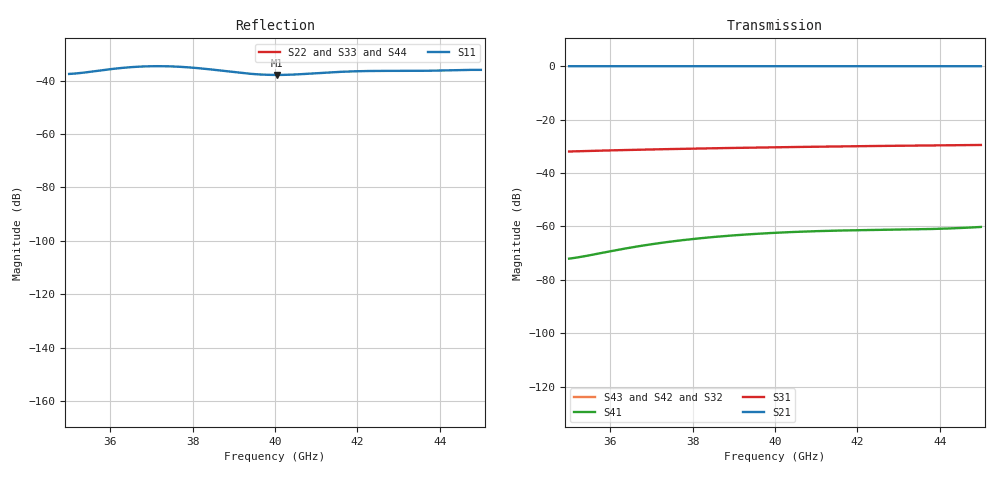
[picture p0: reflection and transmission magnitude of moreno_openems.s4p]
! Moreno cross-guide coupler, openEMS FDTD
! only column 1 (port 1 excited) and, by reciprocity, row 1 are simulated; other entries are zero
! S-parameters are normalised to each port's TE10 wave impedance (generalised
! S-matrix); 'R 50' below is only the placeholder the format requires.
! Reference planes: edges of the common a x a square.
# GHz S MA R 50
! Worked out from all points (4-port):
!   201 points, 35 GHz to 45 GHz, reference 50 ohm
!   strongest paths, dB at 35 GHz, 37.5 GHz, 40 GHz, 42.5 GHz, 45 GHz:
!     S21: 0.0, 0.0, 0.0, 0.0, 0.0
!     S31: -32.0, -31.0, -30.4, -29.9, -29.5
!     S41: -72.1, -65.6, -62.4, -61.3, -60.2
!     S43: -, -, -, -, -
!     S42: -, -, -, -, -
!     S32: -, -, -, -, -
!   lowest |S11| = -37.9 dB at 40.05 GHz (marker M1), VSWR 1.03, Z = 51.2 + j0.398 ohm
!   |S11| at or under -10 dB: start of sweep to end of sweep
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35  0.01337 -147.5  0.999 -159.9  0.02525 110.2  0.0002487 111.4
    0.999 -159.9  0 0.0  0 0.0  0 0.0
    0.02525 110.2  0 0.0  0 0.0  0 0.0
    0.0002487 111.4  0 0.0  0 0.0  0 0.0
36.4  0.01766 -95.5  1 -174.3  0.02695 95.7  0.0003896 111.9
      1 -174.3  0 0.0  0 0.0  0 0.0
      0.02695 95.7  0 0.0  0 0.0  0 0.0
      0.0003896 111.9  0 0.0  0 0.0  0 0.0
37.2  0.01869 -76.3  0.9999 177.7  0.0278 87.7  0.0004875 103.8
      0.9999 177.7  0 0.0  0 0.0  0 0.0
      0.0278 87.7  0 0.0  0 0.0  0 0.0
      0.0004875 103.8  0 0.0  0 0.0  0 0.0
38.6  0.01573 -39.9  0.9994 164.1  0.02911 74.1  0.0006419 85.8
      0.9994 164.1  0 0.0  0 0.0  0 0.0
      0.02911 74.1  0 0.0  0 0.0  0 0.0
      0.0006419 85.8  0 0.0  0 0.0  0 0.0
40.05  0.0128 17.7  0.9994 150.5  0.03032 60.5  0.0007614 66.4
       0.9994 150.5  0 0.0  0 0.0  0 0.0
       0.03032 60.5  0 0.0  0 0.0  0 0.0
       0.0007614 66.4  0 0.0  0 0.0  0 0.0
42.6  0.01524 105.6  0.9997 127.1  0.03212 37.1  0.0008618 36.8
      0.9997 127.1  0 0.0  0 0.0  0 0.0
      0.03212 37.1  0 0.0  0 0.0  0 0.0
      0.0008618 36.8  0 0.0  0 0.0  0 0.0
45  0.01593 179.5  0.9989 105.8  0.03347 15.8  0.0009758 17.2
    0.9989 105.8  0 0.0  0 0.0  0 0.0
    0.03347 15.8  0 0.0  0 0.0  0 0.0
    0.0009758 17.2  0 0.0  0 0.0  0 0.0
